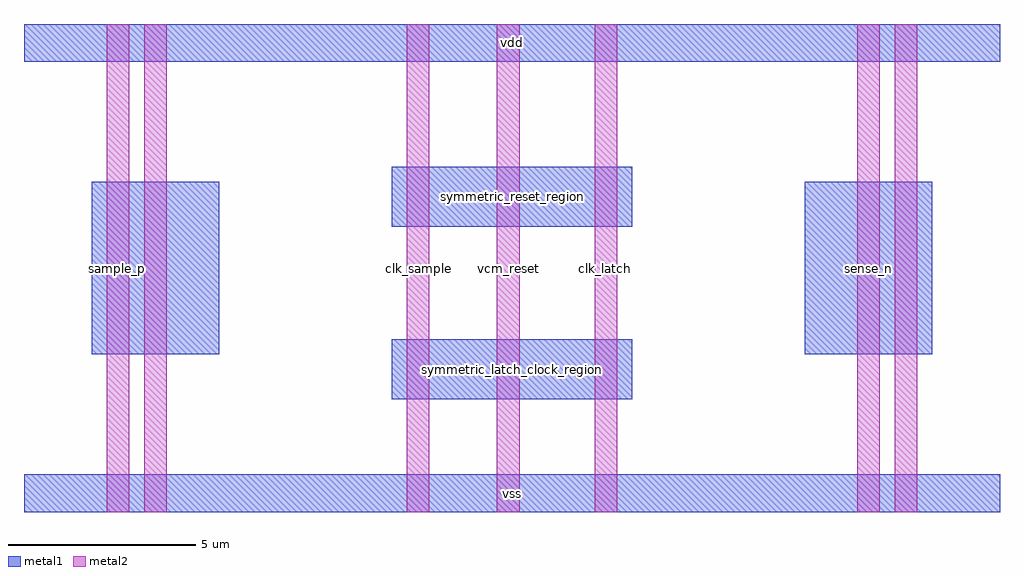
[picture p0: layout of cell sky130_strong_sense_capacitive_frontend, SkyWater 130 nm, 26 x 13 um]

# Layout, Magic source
magic
tech sky130A
<< metal1 >>
rect 0 0 2600 100
rect 0 1200 2600 1300
rect 180 420 520 880
rect 2080 420 2420 880
rect 980 760 1620 920
rect 980 300 1620 460
<< metal2 >>
rect 220 0 280 1300
rect 320 0 380 1300
rect 1020 0 1080 1300
rect 1260 0 1320 1300
rect 1520 0 1580 1300
rect 2220 0 2280 1300
rect 2320 0 2380 1300
<< labels >>
rlabel metal1 0 0 2600 100 0 vss
port 1 nsew
rlabel metal1 0 1200 2600 1300 0 vdd
port 2 nsew
rlabel metal2 220 0 280 1300 0 sample_p
port 3 nsew
rlabel metal2 320 0 380 1300 0 sense_p
port 4 nsew
rlabel metal2 1020 0 1080 1300 0 clk_sample
port 5 nsew
rlabel metal2 1260 0 1320 1300 0 vcm_reset
port 6 nsew
rlabel metal2 1520 0 1580 1300 0 clk_latch
port 7 nsew
rlabel metal2 2220 0 2280 1300 0 sense_n
port 8 nsew
rlabel metal2 2320 0 2380 1300 0 sample_n
port 9 nsew
rlabel metal1 180 420 520 880 0 strong_sample_p_sense_p_region
rlabel metal1 2080 420 2420 880 0 strong_sample_n_sense_n_region
rlabel metal1 980 760 1620 920 0 symmetric_reset_region
rlabel metal1 980 300 1620 460 0 symmetric_latch_clock_region
<< end >>
